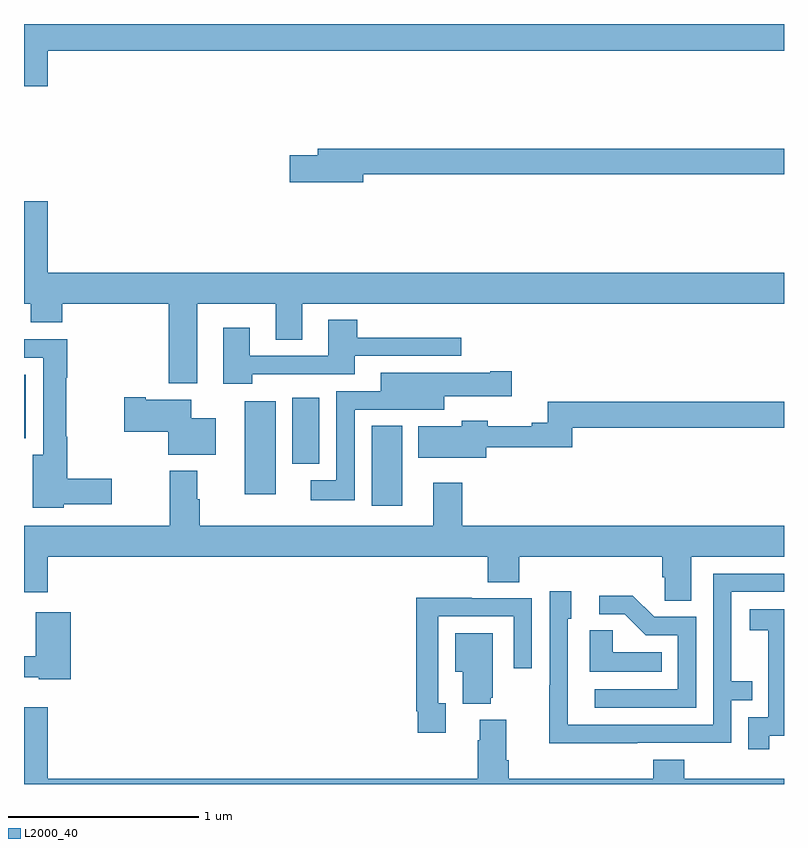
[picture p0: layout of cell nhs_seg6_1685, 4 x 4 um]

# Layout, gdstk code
import gdstk
lib = gdstk.Library(unit=1e-6, precision=1e-09)
def R(c, l, rs):  # rectangles x0, y0, x1, y1
    for r in rs: c.add(gdstk.rectangle(r[:2], r[2:], *l))
def P(c, l, *ps):  # polygons
    for p in ps: c.add(gdstk.Polygon(p, *l))
L2000_40 = (2000, 40)

nhs_seg6_1685 = lib.new_cell('nhs_seg6_1685')
R(nhs_seg6_1685, L2000_40, [(214.829,920.964,214.99,921.385), (214.163,921.024,214.324,921.514), (214.412,921.185,214.555,921.532), (213,921.32,213.01,921.655)])
P(nhs_seg6_1685, L2000_40, [(213.124,923.36),(217,923.36),(217,923.5),(213,923.5),(213,923.172),(213.124,923.172)],
  [(214.786,922.708),(217,922.708),(217,922.844),(214.547,922.844),(214.547,922.808),(214.398,922.808),(214.398,922.666),(214.786,922.666)],
  [(213.913,922.028),(214.325,922.028),(214.325,921.838),(214.465,921.838),(214.465,922.028),(217,922.028),(217,922.192),(213.124,922.192),(213.124,922.567),(213,922.567),(213,922.028),(213.035,922.028),(213.035,921.929),(213.2,921.929),(213.2,922.028),(213.761,922.028),(213.761,921.608),(213.913,921.608)],
  [(214.202,921.657),(214.741,921.657),(214.741,921.753),(215.302,921.753),(215.302,921.85),(214.754,921.85),(214.754,921.943),(214.601,921.943),(214.601,921.753),(214.189,921.753),(214.189,921.901),(214.049,921.901),(214.049,921.606),(214.202,921.606)],
  [(213.21,920.972),(213.463,920.972),(213.463,921.107),(213.227,921.107),(213.227,921.328),(213.222,921.328),(213.222,921.637),(213.227,921.637),(213.227,921.842),(213,921.842),(213,921.744),(213.101,921.744),(213.101,921.232),(213.047,921.232),(213.047,920.954),(213.21,920.954)],
  [(214.74,921.471),(214.986,921.471),(214.986,921.47),(215.212,921.47),(215.212,921.542),(215.566,921.542),(215.566,921.672),(215.453,921.672),(215.453,921.664),(214.877,921.664),(214.877,921.567),(214.644,921.567),(214.644,921.1),(214.509,921.1),(214.509,920.993),(214.74,920.993)],
  [(214.009,921.424),(213.88,921.424),(213.88,921.523),(213.64,921.523),(213.64,921.536),(213.528,921.536),(213.528,921.353),(213.758,921.353),(213.758,921.233),(214.009,921.233)],
  [(215.434,921.273),(215.885,921.273),(215.885,921.376),(217,921.376),(217,921.512),(215.757,921.512),(215.757,921.401),(215.672,921.401),(215.672,921.382),(215.442,921.382),(215.442,921.412),(215.305,921.412),(215.305,921.382),(215.075,921.382),(215.075,921.218),(215.434,921.218)],
  [(216.511,920.696),(217,920.696),(217,920.86),(215.306,920.86),(215.306,921.085),(215.153,921.085),(215.153,920.86),(213.926,920.86),(213.926,920.999),(213.913,920.999),(213.913,921.148),(213.766,921.148),(213.766,920.86),(213,920.86),(213,920.508),(213.124,920.508),(213.124,920.696),(215.441,920.696),(215.441,920.563),(215.606,920.563),(215.606,920.696),(216.359,920.696),(216.359,920.587),(216.372,920.587),(216.372,920.464),(216.511,920.464)],
  [(216.227,919.716),(216.723,919.716),(216.723,919.941),(216.833,919.941),(216.833,920.042),(216.723,920.042),(216.723,920.511),(217,920.511),(217,920.607),(216.627,920.607),(216.627,919.812),(215.862,919.812),(215.862,920.37),(215.881,920.37),(215.881,920.515),(215.766,920.515),(215.766,920.021),(215.764,920.021),(215.764,919.715),(216.227,919.715)],
  [(216.537,920.379),(216.318,920.379),(216.205,920.492),(216.027,920.492),(216.027,920.394),(216.161,920.394),(216.272,920.283),(216.441,920.283),(216.441,919.998),(216.003,919.998),(216.003,919.902),(216.537,919.902)],
  [(215.221,919.926),(215.181,919.926),(215.181,920.382),(215.577,920.382),(215.577,920.109),(215.673,920.109),(215.673,920.478),(215.357,920.478),(215.357,920.48),(215.065,920.48),(215.065,919.882),(215.073,919.882),(215.073,919.77),(215.221,919.77)],
  [(216.922,919.753),(217,919.753),(217,920.419),(216.819,920.419),(216.819,920.309),(216.917,920.309),(216.917,920.081),(216.918,920.081),(216.918,919.851),(216.813,919.851),(216.813,919.683),(216.922,919.683)],
  [(213.245,920.404),(213.062,920.404),(213.062,920.173),(213,920.173),(213,920.063),(213.078,920.063),(213.078,920.051),(213.245,920.051)],
  [(216.356,920.194),(216.099,920.194),(216.099,920.309),(215.978,920.309),(215.978,920.09),(216.356,920.09)],
  [(215.456,919.953),(215.467,919.953),(215.467,920.293),(215.27,920.293),(215.27,920.09),(215.309,920.09),(215.309,919.922),(215.456,919.922)],
  [(217,919.528),(216.476,919.528),(216.476,919.627),(216.311,919.627),(216.311,919.528),(215.552,919.528),(215.552,919.624),(215.539,919.624),(215.539,919.837),(215.399,919.837),(215.399,919.73),(215.387,919.73),(215.387,919.528),(213.124,919.528),(213.124,919.903),(213,919.903),(213,919.5),(217,919.5)])

lib.write_gds('nhs_seg6_1685.gds')
